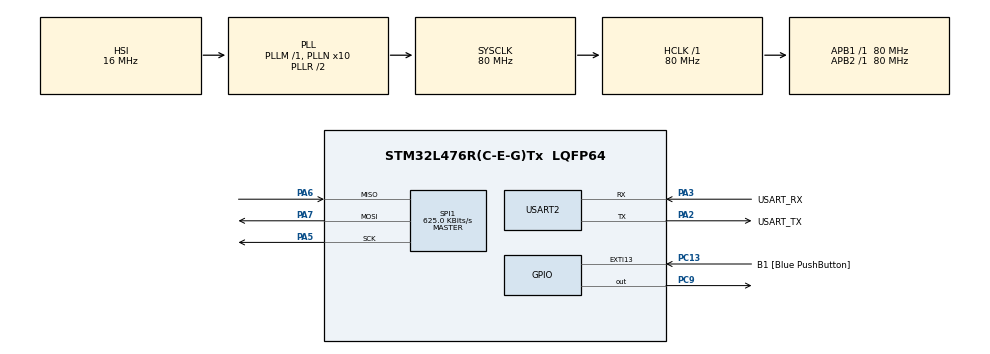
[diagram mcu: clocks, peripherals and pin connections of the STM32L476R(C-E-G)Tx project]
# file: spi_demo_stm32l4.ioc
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Mcu.Family=STM32L4
Mcu.Name=STM32L476R(C-E-G)Tx
Mcu.Package=LQFP64
NVIC.PriorityGroup=NVIC_PRIORITYGROUP_4
PA13\ (JTMS-SWDIO).GPIO_Label=TMS
PA13\ (JTMS-SWDIO).Mode=Serial_Wire
PA13\ (JTMS-SWDIO).Signal=SYS_JTMS-SWDIO
PA14\ (JTCK-SWCLK).GPIO_Label=TCK
PA14\ (JTCK-SWCLK).Mode=Serial_Wire
PA14\ (JTCK-SWCLK).Signal=SYS_JTCK-SWCLK
PA2.GPIO_Label=USART_TX
PA2.GPIO_Mode=GPIO_MODE_AF_PP
PA2.GPIO_PuPd=GPIO_NOPULL
PA2.GPIO_Speed=GPIO_SPEED_FREQ_VERY_HIGH
PA2.Mode=Asynchronous
PA2.Signal=USART2_TX
PA3.GPIO_Label=USART_RX
PA3.GPIO_Mode=GPIO_MODE_AF_PP
PA3.GPIO_PuPd=GPIO_NOPULL
PA3.GPIO_Speed=GPIO_SPEED_FREQ_VERY_HIGH
PA3.Mode=Asynchronous
PA3.Signal=USART2_RX
PA5.Mode=Full_Duplex_Master
PA5.Signal=SPI1_SCK
PA6.Mode=Full_Duplex_Master
PA6.Signal=SPI1_MISO
PA7.Mode=Full_Duplex_Master
PA7.Signal=SPI1_MOSI
PB3\ (JTDO-TRACESWO).GPIO_Label=SWO
PB3\ (JTDO-TRACESWO).Signal=SYS_JTDO-SWO
PC13.GPIO_Label=B1 [Blue PushButton]
PC13.GPIO_ModeDefaultEXTI=GPIO_MODE_IT_FALLING
PC13.GPIO_PuPd=GPIO_NOPULL
PC13.Signal=GPXTI13
PC14-OSC32_IN\ (PC14).Mode=LSE-External-Oscillator
PC14-OSC32_IN\ (PC14).Signal=RCC_OSC32_IN
PC15-OSC32_OUT\ (PC15).Mode=LSE-External-Oscillator
PC15-OSC32_OUT\ (PC15).Signal=RCC_OSC32_OUT
PC9.Signal=GPIO_Output
PH0-OSC_IN\ (PH0).Signal=RCC_OSC_IN
PH1-OSC_OUT\ (PH1).Signal=RCC_OSC_OUT
ProjectManager.HeapSize=0x200
ProjectManager.StackSize=0x400
ProjectManager.TargetToolchain=STM32CubeIDE
RCC.ADCFreq_Value=64000000
RCC.AHBFreq_Value=80000000
RCC.APB1Freq_Value=80000000
RCC.APB1TimFreq_Value=80000000
RCC.APB2Freq_Value=80000000
RCC.APB2TimFreq_Value=80000000
RCC.CortexFreq_Value=80000000
RCC.HCLKFreq_Value=80000000
RCC.HSE_VALUE=8000000
RCC.HSI_VALUE=16000000
RCC.MSI_VALUE=4000000
RCC.PLLN=10
RCC.PLLSourceVirtual=RCC_PLLSOURCE_HSI
RCC.PREFETCH_ENABLE=1
RCC.SYSCLKFreq_VALUE=80000000
RCC.SYSCLKSource=RCC_SYSCLKSOURCE_PLLCLK
RCC.USBFreq_Value=64000000
RCC.VCOOutputFreq_Value=160000000
SPI1.BaudRatePrescaler=SPI_BAUDRATEPRESCALER_128
SPI1.CLKPhase=SPI_PHASE_2EDGE
SPI1.CLKPolarity=SPI_POLARITY_HIGH
SPI1.CalculateBaudRate=625.0 KBits/s
SPI1.DataSize=SPI_DATASIZE_8BIT
SPI1.Direction=SPI_DIRECTION_2LINES
SPI1.Mode=SPI_MODE_MASTER
SPI1.VirtualType=VM_MASTER
USART2.VirtualMode-Asynchronous=VM_ASYNC
board=NUCLEO-L476RG

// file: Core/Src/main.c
/* USER CODE BEGIN Header */
/**
  ******************************************************************************
  * @file           : main.c
  * @brief          : Main program body
  ******************************************************************************
  * @attention
  *
  * Copyright (c) 2022 STMicroelectronics.
  * All rights reserved.
  *
  * This software is licensed under terms that can be found in the LICENSE file
  * in the root directory of this software component.
  * If no LICENSE file comes with this software, it is provided AS-IS.
  *
  ******************************************************************************
  */
/* USER CODE END Header */
#include "main.h"
#include "spi.h"
#include "usart.h"
#include "gpio.h"

/* USER CODE BEGIN Includes */
#include <stdint.h>
#include <sk9822_led_driver.h>
/* USER CODE END Includes */

void SystemClock_Config(void);

int main(void)
{
  /* USER CODE BEGIN 1 */
	uint16_t led_buf_len = LED_START_FRAME_LEN + 4*NUMBER_OF_LEDS + LED_END_FRAME_LEN;
	uint8_t led_buf[led_buf_len];
	uint8_t* led_buf_ptr = led_buf;

	PrepareLedBuf(led_buf_ptr);
  /* USER CODE END 1 */

  /* MCU Configuration--------------------------------------------------------*/

  /* Reset of all peripherals, Initializes the Flash interface and the Systick. */
  HAL_Init();

  /* Configure the system clock */
  SystemClock_Config();

  /* Initialize all configured peripherals */
  MX_GPIO_Init();
  MX_USART2_UART_Init();
  MX_SPI1_Init();

  /* Infinite loop */
  /* USER CODE BEGIN WHILE */
  uint8_t red_level = 255;			// between [0, 255]
  	uint8_t green_level = 16;			// between [0, 255]
  	uint8_t blue_level = 128;			// between [0, 255]
  	uint8_t brightness_level = 2;	// between [0, 31]

  	WriteToLedBuf(led_buf_ptr,
  						red_level,
  						green_level,
  						blue_level,
  						brightness_level);

  	// Send out LED information
  	HAL_SPI_Transmit(&hspi1, led_buf_ptr, sizeof(led_buf), 100);

  while (1)
  {
    /* USER CODE END WHILE */

  }
}

void SystemClock_Config(void)
{
  RCC_OscInitTypeDef RCC_OscInitStruct = {0};
  RCC_ClkInitTypeDef RCC_ClkInitStruct = {0};

  /** Configure the main internal regulator output voltage
  */
  if (HAL_PWREx_ControlVoltageScaling(PWR_REGULATOR_VOLTAGE_SCALE1) != HAL_OK)
  {
    Error_Handler();
  }
  /** Initializes the RCC Oscillators according to the specified parameters
  * in the RCC_OscInitTypeDef structure.
  */
  RCC_OscInitStruct.OscillatorType = RCC_OSCILLATORTYPE_HSI;
  RCC_OscInitStruct.HSIState = RCC_HSI_ON;
  RCC_OscInitStruct.HSICalibrationValue = RCC_HSICALIBRATION_DEFAULT;
  RCC_OscInitStruct.PLL.PLLState = RCC_PLL_ON;
  RCC_OscInitStruct.PLL.PLLSource = RCC_PLLSOURCE_HSI;
  RCC_OscInitStruct.PLL.PLLM = 1;
  RCC_OscInitStruct.PLL.PLLN = 10;
  RCC_OscInitStruct.PLL.PLLP = RCC_PLLP_DIV7;
  RCC_OscInitStruct.PLL.PLLQ = RCC_PLLQ_DIV2;
  RCC_OscInitStruct.PLL.PLLR = RCC_PLLR_DIV2;
  if (HAL_RCC_OscConfig(&RCC_OscInitStruct) != HAL_OK)
  {
    Error_Handler();
  }
  /** Initializes the CPU, AHB and APB buses clocks
  */
  RCC_ClkInitStruct.ClockType = RCC_CLOCKTYPE_HCLK|RCC_CLOCKTYPE_SYSCLK
                              |RCC_CLOCKTYPE_PCLK1|RCC_CLOCKTYPE_PCLK2;
  RCC_ClkInitStruct.SYSCLKSource = RCC_SYSCLKSOURCE_PLLCLK;
  RCC_ClkInitStruct.AHBCLKDivider = RCC_SYSCLK_DIV1;
  RCC_ClkInitStruct.APB1CLKDivider = RCC_HCLK_DIV1;
  RCC_ClkInitStruct.APB2CLKDivider = RCC_HCLK_DIV1;

  if (HAL_RCC_ClockConfig(&RCC_ClkInitStruct, FLASH_LATENCY_4) != HAL_OK)
  {
    Error_Handler();
  }
}

void Error_Handler(void)
{
  __disable_irq();
  while (1)
  {
  }
}
